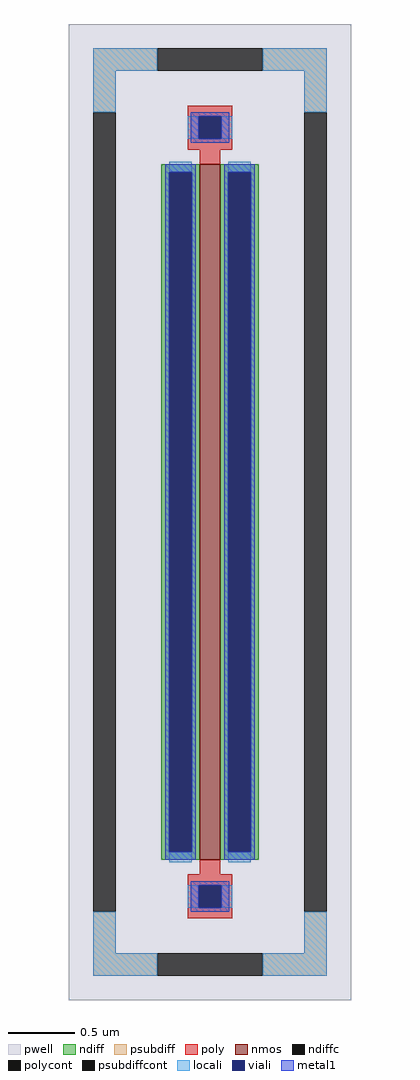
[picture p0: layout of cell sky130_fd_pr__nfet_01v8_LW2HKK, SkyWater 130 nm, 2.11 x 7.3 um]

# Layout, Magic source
magic
tech sky130A
magscale 1 2
<< pwell >>
rect -211 -730 211 730
<< nmos >>
rect -15 -520 15 520
<< ndiff >>
rect -73 508 -15 520
rect -73 -508 -61 508
rect -27 -508 -15 508
rect -73 -520 -15 -508
rect 15 508 73 520
rect 15 -508 27 508
rect 61 -508 73 508
rect 15 -520 73 -508
<< ndiffc >>
rect -61 -508 -27 508
rect 27 -508 61 508
<< psubdiff >>
rect -175 660 -79 694
rect 79 660 175 694
rect -175 598 -141 660
rect 141 598 175 660
rect -175 -660 -141 -598
rect 141 -660 175 -598
rect -175 -694 -79 -660
rect 79 -694 175 -660
<< psubdiffcont >>
rect -79 660 79 694
rect -175 -598 -141 598
rect 141 -598 175 598
rect -79 -694 79 -660
<< poly >>
rect -33 592 33 608
rect -33 558 -17 592
rect 17 558 33 592
rect -33 542 33 558
rect -15 520 15 542
rect -15 -542 15 -520
rect -33 -558 33 -542
rect -33 -592 -17 -558
rect 17 -592 33 -558
rect -33 -608 33 -592
<< polycont >>
rect -17 558 17 592
rect -17 -592 17 -558
<< locali >>
rect -175 660 -79 694
rect 79 660 175 694
rect -175 598 -141 660
rect 141 598 175 660
rect -33 558 -17 592
rect 17 558 33 592
rect -61 508 -27 524
rect -61 -524 -27 -508
rect 27 508 61 524
rect 27 -524 61 -508
rect -33 -592 -17 -558
rect 17 -592 33 -558
rect -175 -660 -141 -598
rect 141 -660 175 -598
rect -175 -694 -79 -660
rect 79 -694 175 -660
<< viali >>
rect -17 558 17 592
rect -61 -508 -27 508
rect 27 -508 61 508
rect -17 -592 17 -558
<< metal1 >>
rect -29 592 29 598
rect -29 558 -17 592
rect 17 558 29 592
rect -29 552 29 558
rect -67 508 -21 520
rect -67 -508 -61 508
rect -27 -508 -21 508
rect -67 -520 -21 -508
rect 21 508 67 520
rect 21 -508 27 508
rect 61 -508 67 508
rect 21 -520 67 -508
rect -29 -558 29 -552
rect -29 -592 -17 -558
rect 17 -592 29 -558
rect -29 -598 29 -592
<< properties >>
string gencell sky130_fd_pr__nfet_01v8
string FIXED_BBOX -158 -677 158 677
string parameters w 5.2 l 0.150 m 1 nf 1 diffcov 100 polycov 100 guard 1 glc 1 grc 1 gtc 1 gbc 1 tbcov 100 rlcov 100 topc 1 botc 1 poverlap 0 doverlap 1 lmin 0.15 wmin 0.42 compatible {sky130_fd_pr__nfet_01v8 sky130_fd_pr__nfet_01v8_lvt  sky130_fd_bs_flash__special_sonosfet_star  sky130_fd_pr__nfet_g5v0d10v5 sky130_fd_pr__nfet_05v0_nvt  sky130_fd_pr__nfet_03v3_nvt} full_metal 1 viasrc 100 viadrn 100 viagate 100 viagb 0 viagr 0 viagl 0 viagt 0
string library sky130
<< end >>
